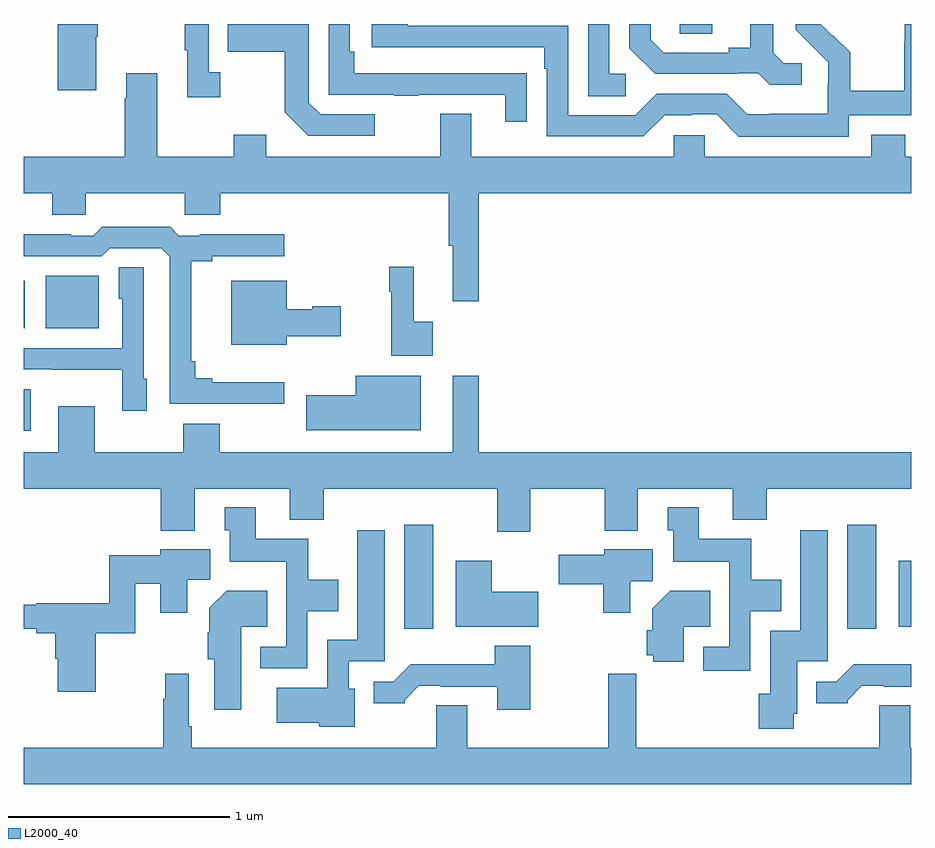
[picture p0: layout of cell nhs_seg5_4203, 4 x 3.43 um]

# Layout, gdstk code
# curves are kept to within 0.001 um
import gdstk
lib = gdstk.Library(unit=1e-6, precision=1e-09)
def R(c, l, rs):  # rectangles x0, y0, x1, y1
    for r in rs: c.add(gdstk.rectangle(r[:2], r[2:], *l))
def P(c, l, *ps):  # polygons
    for p in ps: c.add(gdstk.Polygon(p, *l))
L2000_40 = (2000, 40)

nhs_seg5_4203 = lib.new_cell('nhs_seg5_4203')
R(nhs_seg5_4203, L2000_40, [(358.715,912.072,358.846,912.541), (360.713,912.072,360.844,912.541), (360.944,912.08,361,912.379), (357,912.966,357.031,913.152), (357,913.427,357.004,913.642), (357.098,913.427,357.337,913.663), (359.958,914.755,360.103,914.799)])
P(nhs_seg5_4203, L2000_40, [(357.886,914.582),(357.834,914.582),(357.834,914.799),(357.726,914.799),(357.726,914.681),(357.737,914.681),(357.737,914.469),(357.886,914.469)],
  [(360.72,914.388),(361,914.388),(361,914.799),(360.972,914.799),(360.972,914.72),(360.97,914.72),(360.97,914.497),(360.725,914.497),(360.725,914.671),(360.648,914.748),(360.645,914.745),(360.592,914.799),(360.48,914.799),(360.48,914.774),(360.626,914.626),(360.626,914.529),(360.624,914.529),(360.624,914.395),(360.361,914.395),(360.361,914.391),(360.261,914.391),(360.168,914.484),(359.853,914.484),(359.757,914.388),(359.454,914.388),(359.454,914.79),(358.73,914.79),(358.73,914.799),(358.569,914.799),(358.569,914.694),(359.345,914.694),(359.345,914.597),(359.358,914.597),(359.358,914.292),(359.793,914.292),(359.889,914.388),(360.008,914.388),(360.008,914.391),(360.123,914.391),(360.223,914.291),(360.72,914.291)],
  [(357.325,914.741),(357.333,914.741),(357.333,914.799),(357.152,914.799),(357.152,914.501),(357.325,914.501)],
  [(359.267,914.576),(359.165,914.576),(359.165,914.577),(358.49,914.577),(358.49,914.674),(358.47,914.674),(358.47,914.799),(358.374,914.799),(358.374,914.481),(358.669,914.481),(358.669,914.476),(358.781,914.476),(358.781,914.481),(359.171,914.481),(359.171,914.358),(359.267,914.358)],
  [(359.713,914.574),(359.64,914.574),(359.64,914.799),(359.544,914.799),(359.544,914.473),(359.713,914.473)],
  [(360.508,914.622),(360.426,914.622),(360.379,914.669),(360.379,914.799),(360.275,914.799),(360.275,914.693),(360.179,914.693),(360.179,914.67),(359.884,914.67),(359.827,914.727),(359.827,914.799),(359.73,914.799),(359.73,914.69),(359.846,914.574),(360.218,914.574),(360.218,914.577),(360.312,914.577),(360.364,914.525),(360.508,914.525)],
  [(358.582,914.391),(358.338,914.391),(358.284,914.445),(358.284,914.799),(357.919,914.799),(357.919,914.674),(358.176,914.674),(358.176,914.401),(358.281,914.295),(358.582,914.295)],
  [(359.051,914.036),(361,914.036),(361,914.2),(360.974,914.2),(360.974,914.299),(360.821,914.299),(360.821,914.2),(360.069,914.2),(360.069,914.298),(359.931,914.298),(359.931,914.2),(359.017,914.2),(359.017,914.395),(358.877,914.395),(358.877,914.2),(358.093,914.2),(358.093,914.299),(357.946,914.299),(357.946,914.2),(357.601,914.2),(357.601,914.578),(357.461,914.578),(357.461,914.465),(357.454,914.465),(357.454,914.2),(357,914.2),(357,914.036),(357.128,914.036),(357.128,913.938),(357.279,913.938),(357.279,914.036),(357.724,914.036),(357.724,913.938),(357.884,913.938),(357.884,914.036),(358.915,914.036),(358.915,913.8),(358.934,913.8),(358.934,913.548),(359.051,913.548)],
  [(358.174,913.183),(357.85,913.183),(357.85,913.202),(357.773,913.202),(357.773,913.279),(357.755,913.279),(357.755,913.73),(357.85,913.73),(357.85,913.752),(358.174,913.752),(358.174,913.85),(357.793,913.85),(357.793,913.845),(357.699,913.845),(357.659,913.885),(357.352,913.885),(357.312,913.845),(357.212,913.845),(357.212,913.85),(357,913.85),(357,913.752),(357.351,913.752),(357.387,913.788),(357.618,913.788),(357.657,913.749),(357.657,913.086),(358.174,913.086)],
  [(358.843,913.457),(358.757,913.457),(358.757,913.705),(358.647,913.705),(358.647,913.592),(358.657,913.592),(358.657,913.304),(358.843,913.304)],
  [(357.553,913.2),(357.54,913.2),(357.54,913.703),(357.428,913.703),(357.428,913.56),(357.444,913.56),(357.444,913.338),(357,913.338),(357,913.242),(357.127,913.242),(357.127,913.241),(357.444,913.241),(357.444,913.056),(357.553,913.056)],
  [(358.186,913.391),(358.429,913.391),(358.429,913.526),(358.299,913.526),(358.299,913.513),(358.186,913.513),(358.186,913.642),(357.935,913.642),(357.935,913.352),(358.186,913.352)],
  [(359.283,912.704),(359.62,912.704),(359.62,912.515),(359.767,912.515),(359.767,912.704),(360.197,912.704),(360.197,912.563),(360.35,912.563),(360.35,912.704),(361,912.704),(361,912.868),(359.051,912.868),(359.051,913.213),(358.934,913.213),(358.934,912.868),(357.883,912.868),(357.883,912.997),(357.719,912.997),(357.719,912.868),(357.319,912.868),(357.319,913.075),(357.155,913.075),(357.155,912.868),(357,912.868),(357,912.704),(357.617,912.704),(357.617,912.515),(357.769,912.515),(357.769,912.704),(358.199,912.704),(358.199,912.563),(358.352,912.563),(358.352,912.704),(359.135,912.704),(359.135,912.51),(359.283,912.51)],
  [(358.789,913.213),(358.496,913.213),(358.496,913.126),(358.272,913.126),(358.272,912.968),(358.789,912.968)],
  [(358.278,912.152),(358.417,912.152),(358.417,912.292),(358.281,912.292),(358.281,912.478),(358.045,912.478),(358.045,912.619),(357.905,912.619),(357.905,912.516),(357.929,912.516),(357.929,912.374),(358.182,912.374),(358.182,911.991),(358.065,911.991),(358.065,911.895),(358.278,911.895)],
  [(360.276,912.152),(360.415,912.152),(360.415,912.292),(360.279,912.292),(360.279,912.478),(360.043,912.478),(360.043,912.619),(359.903,912.619),(359.903,912.516),(359.927,912.516),(359.927,912.374),(360.18,912.374),(360.18,911.991),(360.063,911.991),(360.063,911.883),(360.276,911.883)],
  [(360.471,911.688),(360.487,911.688),(360.487,911.925),(360.625,911.925),(360.625,912.517),(360.5,912.517),(360.5,912.064),(360.365,912.064),(360.365,911.778),(360.314,911.778),(360.314,911.622),(360.471,911.622)],
  [(358.492,911.802),(358.464,911.802),(358.464,911.925),(358.627,911.925),(358.627,912.517),(358.502,912.517),(358.502,912.022),(358.368,912.022),(358.368,911.806),(358.14,911.806),(358.14,911.648),(358.332,911.648),(358.332,911.63),(358.492,911.63)],
  [(357.323,912.052),(357.501,912.052),(357.501,912.274),(357.614,912.274),(357.614,912.144),(357.736,912.144),(357.736,912.292),(357.841,912.292),(357.841,912.43),(357.614,912.43),(357.614,912.403),(357.385,912.403),(357.385,912.188),(357.056,912.188),(357.056,912.181),(357,912.181),(357,912.071),(357.056,912.071),(357.056,912.052),(357.14,912.052),(357.14,911.937),(357.152,911.937),(357.152,911.787),(357.323,911.787)],
  [(359.734,912.286),(359.836,912.286),(359.836,912.43),(359.616,912.43),(359.616,912.406),(359.412,912.406),(359.412,912.272),(359.612,912.272),(359.612,912.144),(359.734,912.144)],
  [(359.32,912.238),(359.11,912.238),(359.11,912.379),(358.946,912.379),(358.946,912.08),(359.32,912.08)],
  [(357.979,912.08),(358.097,912.08),(358.097,912.244),(357.914,912.244),(357.836,912.166),(357.836,912.056),(357.829,912.056),(357.829,911.934),(357.857,911.934),(357.857,911.706),(357.979,911.706)],
  [(359.974,912.08),(360.095,912.08),(360.095,912.244),(359.915,912.244),(359.834,912.163),(359.834,912.066),(359.809,912.066),(359.809,911.952),(359.838,911.952),(359.838,911.923),(359.974,911.923)],
  [(359.283,911.995),(359.123,911.995),(359.123,911.911),(358.744,911.911),(358.665,911.832),(358.577,911.832),(358.577,911.735),(358.716,911.735),(358.716,911.75),(358.78,911.814),(358.879,911.814),(358.879,911.811),(359.135,911.811),(359.135,911.706),(359.283,911.706)],
  [(360.714,911.75),(360.778,911.814),(360.877,911.814),(360.877,911.811),(361,911.811),(361,911.911),(360.742,911.911),(360.663,911.832),(360.572,911.832),(360.572,911.735),(360.714,911.735)],
  [(361,911.536),(360.997,911.536),(360.997,911.726),(360.857,911.726),(360.857,911.536),(359.762,911.536),(359.762,911.869),(359.634,911.869),(359.634,911.536),(358.999,911.536),(358.999,911.726),(358.859,911.726),(358.859,911.536),(357.757,911.536),(357.757,911.632),(357.744,911.632),(357.744,911.869),(357.636,911.869),(357.636,911.756),(357.628,911.756),(357.628,911.536),(357,911.536),(357,911.372),(361,911.372)])

lib.write_gds('nhs_seg5_4203.gds')
